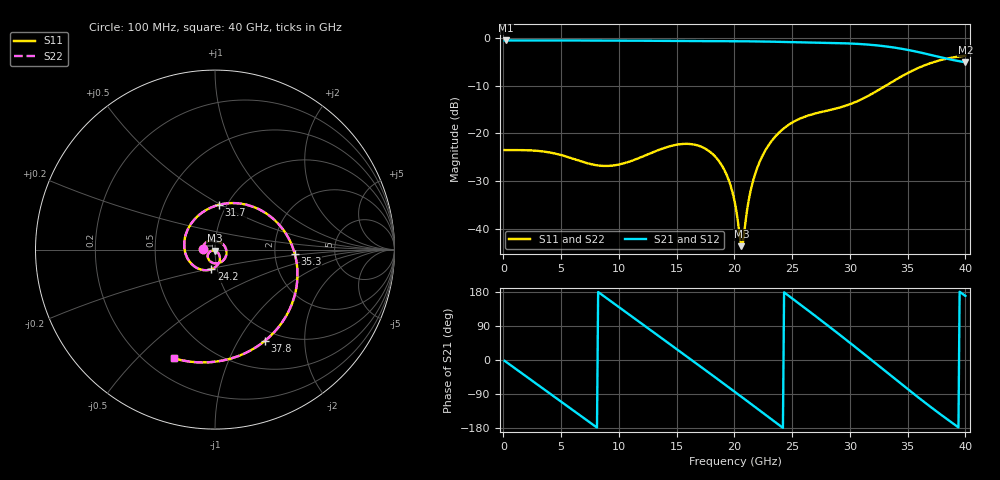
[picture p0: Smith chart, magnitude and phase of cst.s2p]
! A_s4_d300_ap800: L1→L4 through L2/L3, drill Ø0.3, antipad Ø0.8, 4 GND vias at 1 mm
! stackup: 4-layer 1.6 mm FR-4
! ports: 1, 2
! CST Studio Suite 2025.5 Release from 2025-05-30, time domain (FIT, hexahedral, PBA), 136400 mesh cells, 28 s
! mesh: {'lpw': 20, 'lpb': 20, 'minstep': 0.0, 'ratio': 20}; ports: port 1 (face); port 2 (face)
! interpolated from CST's 1001 samples to the case grid
# Hz S RI R 50
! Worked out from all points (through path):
!   400 points, 100 MHz to 40 GHz, reference 50 ohm
!   highest |S21| = -0.60 dB at 200 MHz (marker M1); lowest = -5.2 dB at 40 GHz (marker M2)
!   group delay of S21, straight-line fit = 63.4 ps
!   lowest |S11| = -43.5 dB at 20.6 GHz (marker M3), VSWR 1.01, Z = 49.7 - j0.608 ohm
!   |S11| at or under -10 dB: start of sweep to 33.13 GHz
!   |S22| runs from -43.5 to -3.8 dB; largest |S21 - S12| = 3.6e-07
!   S11 on the Smith chart (normalised r, x): 100 MHz: 0.87, +0.00; 24.2 GHz: 0.94, -0.21; 31.7 GHz: 0.92, +0.49; 35.3 GHz: 2.59, -0.15; 37.8 GHz: 0.85, -1.30; 40 GHz: 0.31, -0.65
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1e8  -0.0672 0.00105  0.9322 -0.0358  0.9322 -0.0358  -0.0672 0.00105
2e8  -0.0672 0.00209  0.9301 -0.0715  0.9301 -0.0715  -0.0672 0.00209
3.6e9  -0.0523 0.0379  0.1755 -0.9159  0.1755 -0.9159  -0.0523 0.0379
5.1e9  -0.035 0.0476  -0.3519 -0.8634  -0.3519 -0.8634  -0.035 0.0476
6.8e9  -0.0145 0.0488  -0.8042 -0.471  -0.8042 -0.471  -0.0145 0.0488
9.6e9  0.0159 0.0438  -0.7929 0.4861  -0.7929 0.4861  0.0159 0.0438
1.16e10  0.0481 0.026  -0.2272 0.8993  -0.2272 0.8993  0.0481 0.026
1.34e10  0.0641 -0.0194  0.4017 0.8324  0.4017 0.8324  0.0641 -0.0194
1.51e10  0.0389 -0.0662  0.8245 0.4105  0.8245 0.4105  0.0389 -0.0662
1.66e10  -0.0073 -0.0759  0.9122 -0.1108  0.9122 -0.1108  -0.0073 -0.0759
1.88e10  -0.0395 -0.0285  0.5104 -0.7622  0.5104 -0.7622  -0.0395 -0.0285
2.01e10  -0.0163 -0.006  0.071 -0.9134  0.071 -0.9134  -0.0163 -0.00599
2.06e10  -0.00271 -0.00612  -0.11 -0.9087  -0.11 -0.9087  -0.00271 -0.00611
2.19e10  0.0249 -0.033  -0.5423 -0.7328  -0.5423 -0.7328  0.0249 -0.033
2.42e10  -0.0198 -0.1093  -0.9007 -0.0142  -0.9007 -0.0142  -0.0198 -0.1093
2.67e10  -0.1454 -0.0618  -0.4883 0.7419  -0.4883 0.7419  -0.1454 -0.0618
2.9e10  -0.1596 0.0932  0.3084 0.8197  0.3084 0.8197  -0.1596 0.0932
3.17e10  0.0227 0.2499  0.84 0.0619  0.84 0.0619  0.0227 0.2499
3.34e10  0.2413 0.2264  0.6352 -0.487  0.6352 -0.487  0.2413 0.2264
3.53e10  0.4441 -0.0225  0.0786 -0.7279  0.0786 -0.7279  0.4441 -0.0225
3.78e10  0.2763 -0.5097  -0.4955 -0.3816  -0.4955 -0.3816  0.2763 -0.5097
4e10  -0.2294 -0.6059  -0.5427 0.1046  -0.5427 0.1046  -0.2295 -0.6059
